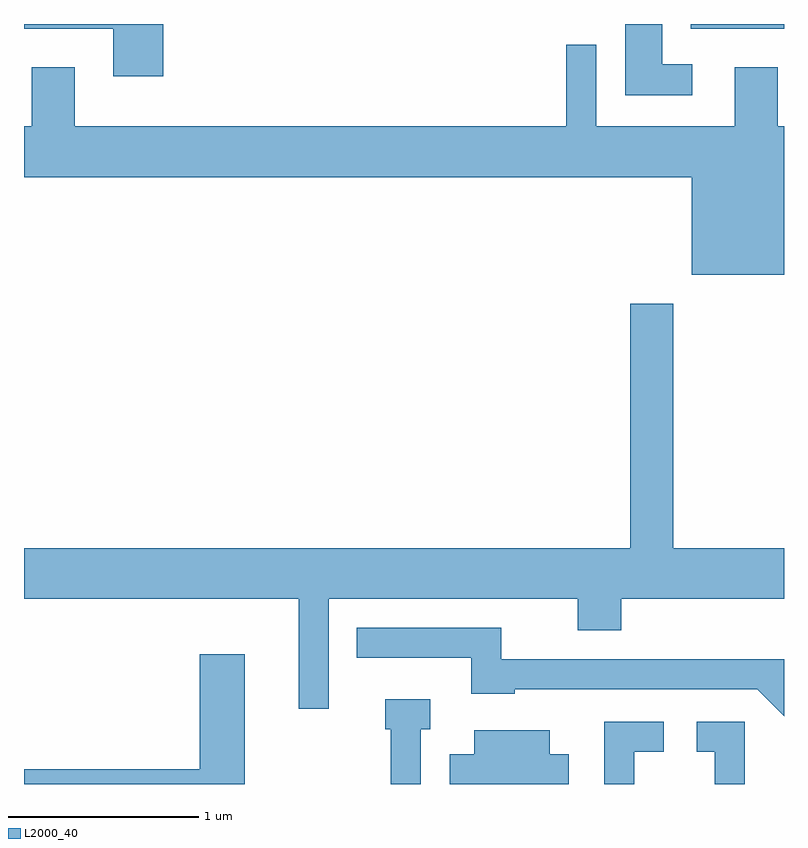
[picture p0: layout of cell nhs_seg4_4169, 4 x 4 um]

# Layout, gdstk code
import gdstk
lib = gdstk.Library(unit=1e-6, precision=1e-09)
def R(c, l, rs):  # rectangles x0, y0, x1, y1
    for r in rs: c.add(gdstk.rectangle(r[:2], r[2:], *l))
def P(c, l, *ps):  # polygons
    for p in ps: c.add(gdstk.Polygon(p, *l))
L2000_40 = (2000, 40)

nhs_seg4_4169 = lib.new_cell('nhs_seg4_4169')
R(nhs_seg4_4169, L2000_40, [(311.121,1299.956,311.611,1299.982)])
P(nhs_seg4_4169, L2000_40, [(308.344,1299.982),(307.611,1299.982),(307.611,1299.956),(308.081,1299.956),(308.081,1299.706),(308.344,1299.706)],
  [(311.128,1299.769),(310.969,1299.769),(310.969,1299.982),(310.776,1299.982),(310.776,1299.606),(311.128,1299.606)],
  [(311.611,1299.444),(311.579,1299.444),(311.579,1299.754),(311.351,1299.754),(311.351,1299.444),(310.624,1299.444),(310.624,1299.873),(310.466,1299.873),(310.466,1299.444),(307.879,1299.444),(307.879,1299.754),(307.651,1299.754),(307.651,1299.444),(307.611,1299.444),(307.611,1299.176),(311.126,1299.176),(311.126,1298.661),(311.611,1298.661)],
  [(309.214,1296.956),(310.526,1296.956),(310.526,1296.791),(310.754,1296.791),(310.754,1296.956),(311.611,1296.956),(311.611,1297.224),(311.029,1297.224),(311.029,1298.509),(310.801,1298.509),(310.801,1297.224),(307.611,1297.224),(307.611,1296.956),(309.056,1296.956),(309.056,1296.378),(309.214,1296.378)],
  [(311.611,1296.639),(310.124,1296.639),(310.124,1296.804),(309.363,1296.804),(309.363,1296.646),(309.966,1296.646),(309.966,1296.456),(310.194,1296.456),(310.194,1296.481),(311.469,1296.481),(311.611,1296.339)],
  [(308.774,1296.664),(308.536,1296.664),(308.536,1296.059),(307.611,1296.059),(307.611,1295.982),(308.774,1295.982)],
  [(309.699,1296.271),(309.748,1296.271),(309.748,1296.429),(309.511,1296.429),(309.511,1296.271),(309.541,1296.271),(309.541,1295.982),(309.699,1295.982)],
  [(310.824,1296.151),(310.978,1296.151),(310.978,1296.309),(310.666,1296.309),(310.666,1295.982),(310.824,1295.982)],
  [(311.404,1296.309),(311.153,1296.309),(311.153,1296.151),(311.246,1296.151),(311.246,1295.982),(311.404,1295.982)],
  [(310.479,1296.139),(310.379,1296.139),(310.379,1296.264),(309.981,1296.264),(309.981,1296.139),(309.851,1296.139),(309.851,1295.982),(310.479,1295.982)])

lib.write_gds('nhs_seg4_4169.gds')
